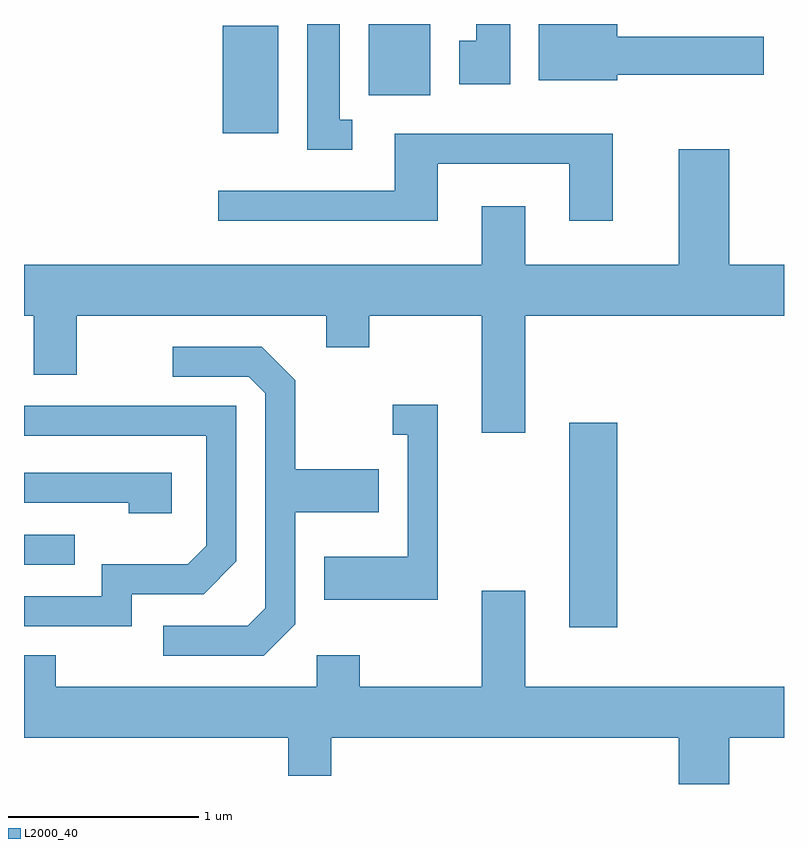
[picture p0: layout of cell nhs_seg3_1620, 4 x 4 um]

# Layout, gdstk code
import gdstk
lib = gdstk.Library(unit=1e-6, precision=1e-09)
def R(c, l, rs):  # rectangles x0, y0, x1, y1
    for r in rs: c.add(gdstk.rectangle(r[:2], r[2:], *l))
def P(c, l, *ps):  # polygons
    for p in ps: c.add(gdstk.Polygon(p, *l))
L2000_40 = (2000, 40)

nhs_seg3_1620 = lib.new_cell('nhs_seg3_1620')
R(nhs_seg3_1620, L2000_40, [(234.481,1228.716,234.734,1229.794), (231.611,1229.046,231.878,1229.204), (232.656,1231.316,232.949,1231.884), (233.426,1231.516,233.749,1231.892)])
P(nhs_seg3_1620, L2000_40, [(234.169,1231.892),(233.991,1231.892),(233.991,1231.804),(233.901,1231.804),(233.901,1231.576),(234.169,1231.576)],
  [(234.734,1231.626),(235.504,1231.626),(235.504,1231.824),(234.734,1231.824),(234.734,1231.892),(234.321,1231.892),(234.321,1231.596),(234.734,1231.596)],
  [(233.338,1231.389),(233.274,1231.389),(233.274,1231.892),(233.101,1231.892),(233.101,1231.231),(233.338,1231.231)],
  [(233.789,1231.156),(234.481,1231.156),(234.481,1230.856),(234.709,1230.856),(234.709,1231.314),(233.561,1231.314),(233.561,1231.014),(232.633,1231.014),(232.633,1230.856),(233.789,1230.856)],
  [(234.249,1230.356),(235.611,1230.356),(235.611,1230.624),(235.324,1230.624),(235.324,1231.234),(235.056,1231.234),(235.056,1230.624),(234.249,1230.624),(234.249,1230.934),(234.021,1230.934),(234.021,1230.624),(231.611,1230.624),(231.611,1230.356),(231.661,1230.356),(231.661,1230.046),(231.889,1230.046),(231.889,1230.356),(233.201,1230.356),(233.201,1230.191),(233.429,1230.191),(233.429,1230.356),(234.021,1230.356),(234.021,1229.741),(234.249,1229.741)],
  [(233.039,1228.734),(233.039,1229.321),(233.479,1229.321),(233.479,1229.549),(233.039,1229.549),(233.039,1230.017),(232.862,1230.194),(232.393,1230.194),(232.393,1230.036),(232.794,1230.036),(232.881,1229.949),(232.881,1228.817),(232.789,1228.724),(232.343,1228.724),(232.343,1228.566),(232.872,1228.566)],
  [(233.789,1229.889),(233.553,1229.889),(233.553,1229.731),(233.631,1229.731),(233.631,1229.089),(233.191,1229.089),(233.191,1228.861),(233.789,1228.861)],
  [(232.179,1228.891),(232.557,1228.891),(232.729,1229.064),(232.729,1229.884),(231.611,1229.884),(231.611,1229.726),(232.571,1229.726),(232.571,1229.147),(232.474,1229.049),(232.021,1229.049),(232.021,1228.879),(231.611,1228.879),(231.611,1228.721),(232.179,1228.721)],
  [(232.389,1229.529),(231.611,1229.529),(231.611,1229.371),(232.161,1229.371),(232.161,1229.316),(232.389,1229.316)],
  [(235.324,1228.136),(235.611,1228.136),(235.611,1228.404),(234.249,1228.404),(234.249,1228.909),(234.021,1228.909),(234.021,1228.404),(233.379,1228.404),(233.379,1228.569),(233.151,1228.569),(233.151,1228.404),(231.779,1228.404),(231.779,1228.569),(231.611,1228.569),(231.611,1228.136),(233.001,1228.136),(233.001,1227.936),(233.229,1227.936),(233.229,1228.136),(235.056,1228.136),(235.056,1227.892),(235.324,1227.892)])

lib.write_gds('nhs_seg3_1620.gds')
